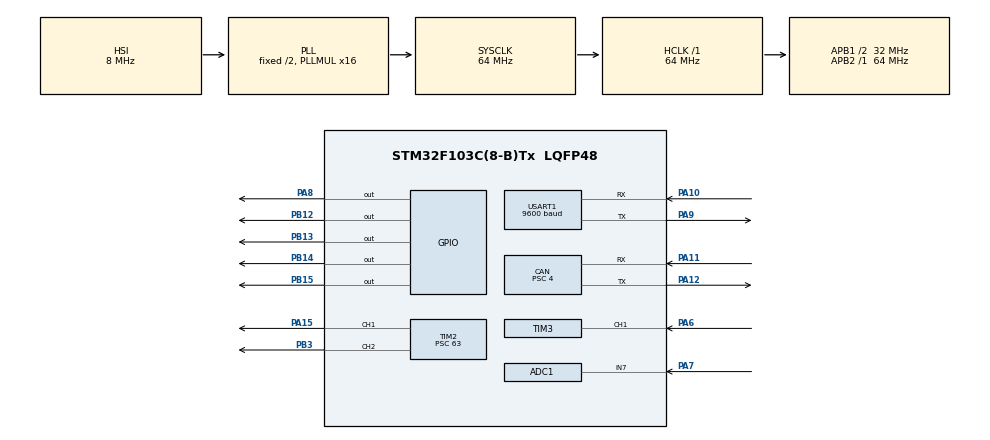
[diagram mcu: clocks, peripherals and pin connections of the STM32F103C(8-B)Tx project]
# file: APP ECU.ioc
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ADC1.Channel-3\#ChannelRegularConversion=ADC_CHANNEL_7
ADC1.ContinuousConvMode=DISABLE
ADC1.DataAlign=ADC_DATAALIGN_RIGHT
ADC1.NbrOfConversionFlag=1
ADC1.Rank-3\#ChannelRegularConversion=1
ADC1.SamplingTime-3\#ChannelRegularConversion=ADC_SAMPLETIME_1CYCLE_5
ADC1.master=1
CAN.BS1=CAN_BS1_13TQ
CAN.BS2=CAN_BS2_2TQ
CAN.CalculateBaudRate=500000
CAN.CalculateTimeBit=2000
CAN.CalculateTimeQuantum=125.0
CAN.Prescaler=4
Mcu.Family=STM32F1
Mcu.Name=STM32F103C(8-B)Tx
Mcu.Package=LQFP48
NVIC.ADC1_2_IRQn=true\:7\:0\:true\:false\:true\:true\:true\:true
NVIC.PriorityGroup=NVIC_PRIORITYGROUP_4
NVIC.TIM1_UP_IRQn=true\:15\:0\:false\:false\:true\:false\:true\:true
NVIC.TIM2_IRQn=true\:7\:0\:true\:false\:true\:true\:true\:true
NVIC.TIM3_IRQn=true\:7\:0\:true\:false\:true\:true\:true\:true
NVIC.TimeBase=TIM1_UP_IRQn
NVIC.TimeBaseIP=TIM1
NVIC.USART1_IRQn=true\:7\:0\:true\:false\:true\:true\:true\:true
NVIC.USB_HP_CAN1_TX_IRQn=true\:7\:0\:true\:false\:true\:true\:true\:true
NVIC.USB_LP_CAN1_RX0_IRQn=true\:7\:0\:true\:false\:true\:true\:true\:true
PA10.Mode=Asynchronous
PA10.Signal=USART1_RX
PA11.Mode=CAN_Activate
PA11.Signal=CAN_RX
PA12.Mode=CAN_Activate
PA12.Signal=CAN_TX
PA13.Mode=Serial_Wire
PA13.Signal=SYS_JTMS-SWDIO
PA14.Mode=Serial_Wire
PA14.Signal=SYS_JTCK-SWCLK
PA15.Signal=S_TIM2_CH1_ETR
PA6.Signal=S_TIM3_CH1
PA7.Signal=ADCx_IN7
PA8.Signal=GPIO_Output
PA9.Mode=Asynchronous
PA9.Signal=USART1_TX
PB12.Signal=GPIO_Output
PB13.Signal=GPIO_Output
PB14.Signal=GPIO_Output
PB15.Signal=GPIO_Output
PB3.Signal=S_TIM2_CH2
ProjectManager.HeapSize=0x200
ProjectManager.StackSize=0x400
ProjectManager.TargetToolchain=STM32CubeIDE
RCC.ADCPresc=RCC_ADCPCLK2_DIV8
RCC.AHBFreq_Value=64000000
RCC.APB1CLKDivider=RCC_HCLK_DIV2
RCC.APB1Freq_Value=32000000
RCC.APB1TimFreq_Value=64000000
RCC.APB2Freq_Value=64000000
RCC.APB2TimFreq_Value=64000000
RCC.HCLKFreq_Value=64000000
RCC.PLLMUL=RCC_PLL_MUL16
RCC.SYSCLKFreq_VALUE=64000000
RCC.SYSCLKSource=RCC_SYSCLKSOURCE_PLLCLK
RCC.USBFreq_Value=64000000
SH.ADCx_IN7.0=ADC1_IN7,IN7
SH.S_TIM2_CH1_ETR.0=TIM2_CH1,PWM Generation1 CH1
SH.S_TIM2_CH2.0=TIM2_CH2,PWM Generation2 CH2
SH.S_TIM3_CH1.0=TIM3_CH1,Input_Capture1_from_TI1
TIM2.Channel-PWM\ Generation1\ CH1=TIM_CHANNEL_1
TIM2.Channel-PWM\ Generation2\ CH2=TIM_CHANNEL_2
TIM2.Period=999
TIM2.Prescaler=63
TIM3.Channel-Input_Capture1_from_TI1=TIM_CHANNEL_1
USART1.BaudRate=9600
USART1.VirtualMode=VM_ASYNC
VP_SYS_VS_tim1.Mode=TIM1
board=custom

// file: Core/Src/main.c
/* USER CODE BEGIN Header */
/**
  ******************************************************************************
  * @file           : main.c
  * @brief          : Main program body
  ******************************************************************************
  * @attention
  *
  * Copyright (c) 2025 STMicroelectronics.
  * All rights reserved.
  *
  * This software is licensed under terms that can be found in the LICENSE file
  * in the root directory of this software component.
  * If no LICENSE file comes with this software, it is provided AS-IS.
  *
  ******************************************************************************
  */
/* USER CODE END Header */
#include "main.h"

/* USER CODE BEGIN Includes */
#include "TaskHandle.h"
/* USER CODE END Includes */

ADC_HandleTypeDef hadc1;

CAN_HandleTypeDef hcan;

TIM_HandleTypeDef htim2;
TIM_HandleTypeDef htim3;

UART_HandleTypeDef huart1;

void SystemClock_Config(void);
static void MX_GPIO_Init(void);
static void MX_ADC1_Init(void);
static void MX_CAN_Init(void);
static void MX_TIM2_Init(void);
static void MX_TIM3_Init(void);
static void MX_USART1_UART_Init(void);
/* USER CODE BEGIN PFP */

void CAN_FilterConfig_AppECU(void);

/* USER CODE END PFP */

int main(void)
{

  /* MCU Configuration--------------------------------------------------------*/

  /* Reset of all peripherals, Initializes the Flash interface and the Systick. */
  HAL_Init();

  /* Configure the system clock */
  SystemClock_Config();

  /* Initialize all configured peripherals */
  MX_GPIO_Init();
  MX_ADC1_Init();
  MX_CAN_Init();
  MX_TIM2_Init();
  MX_TIM3_Init();
  MX_USART1_UART_Init();
  /* USER CODE BEGIN 2 */

  /** Configure and start CAN **/
  CAN_FilterConfig_AppECU();
  HAL_CAN_Start(&hcan);
  HAL_CAN_ActivateNotification(&hcan, CAN_IT_RX_FIFO0_MSG_PENDING);

  /** Initialize FreeRTOS tasks **/
  FreeRTOS_Init();

  /** Start scheduler **/
  Start_Scheduler();

  /* USER CODE END 2 */

  /* Infinite loop */
  while (1)
  {

  }
}

void SystemClock_Config(void)
{
  RCC_OscInitTypeDef RCC_OscInitStruct = {0};
  RCC_ClkInitTypeDef RCC_ClkInitStruct = {0};
  RCC_PeriphCLKInitTypeDef PeriphClkInit = {0};

  /** Initializes the RCC Oscillators according to the specified parameters
  * in the RCC_OscInitTypeDef structure.
  */
  RCC_OscInitStruct.OscillatorType = RCC_OSCILLATORTYPE_HSI;
  RCC_OscInitStruct.HSIState = RCC_HSI_ON;
  RCC_OscInitStruct.HSICalibrationValue = RCC_HSICALIBRATION_DEFAULT;
  RCC_OscInitStruct.PLL.PLLState = RCC_PLL_ON;
  RCC_OscInitStruct.PLL.PLLSource = RCC_PLLSOURCE_HSI_DIV2;
  RCC_OscInitStruct.PLL.PLLMUL = RCC_PLL_MUL16;
  if (HAL_RCC_OscConfig(&RCC_OscInitStruct) != HAL_OK)
  {
    Error_Handler();
  }

  /** Initializes the CPU, AHB and APB buses clocks
  */
  RCC_ClkInitStruct.ClockType = RCC_CLOCKTYPE_HCLK|RCC_CLOCKTYPE_SYSCLK
                              |RCC_CLOCKTYPE_PCLK1|RCC_CLOCKTYPE_PCLK2;
  RCC_ClkInitStruct.SYSCLKSource = RCC_SYSCLKSOURCE_PLLCLK;
  RCC_ClkInitStruct.AHBCLKDivider = RCC_SYSCLK_DIV1;
  RCC_ClkInitStruct.APB1CLKDivider = RCC_HCLK_DIV2;
  RCC_ClkInitStruct.APB2CLKDivider = RCC_HCLK_DIV1;

  if (HAL_RCC_ClockConfig(&RCC_ClkInitStruct, FLASH_LATENCY_2) != HAL_OK)
  {
    Error_Handler();
  }
  PeriphClkInit.PeriphClockSelection = RCC_PERIPHCLK_ADC;
  PeriphClkInit.AdcClockSelection = RCC_ADCPCLK2_DIV8;
  if (HAL_RCCEx_PeriphCLKConfig(&PeriphClkInit) != HAL_OK)
  {
    Error_Handler();
  }
}

static void MX_ADC1_Init(void)
{

  ADC_ChannelConfTypeDef sConfig = {0};

  /** Common config
  */
  hadc1.Instance = ADC1;
  hadc1.Init.ScanConvMode = ADC_SCAN_DISABLE;
  hadc1.Init.ContinuousConvMode = DISABLE;
  hadc1.Init.DiscontinuousConvMode = DISABLE;
  hadc1.Init.ExternalTrigConv = ADC_SOFTWARE_START;
  hadc1.Init.DataAlign = ADC_DATAALIGN_RIGHT;
  hadc1.Init.NbrOfConversion = 1;
  if (HAL_ADC_Init(&hadc1) != HAL_OK)
  {
    Error_Handler();
  }

  /** Configure Regular Channel
  */
  sConfig.Channel = ADC_CHANNEL_7;
  sConfig.Rank = ADC_REGULAR_RANK_1;
  sConfig.SamplingTime = ADC_SAMPLETIME_1CYCLE_5;
  if (HAL_ADC_ConfigChannel(&hadc1, &sConfig) != HAL_OK)
  {
    Error_Handler();
  }

}

static void MX_CAN_Init(void)
{

  hcan.Instance = CAN1;
  hcan.Init.Prescaler = 4;
  hcan.Init.Mode = CAN_MODE_NORMAL;
  hcan.Init.SyncJumpWidth = CAN_SJW_1TQ;
  hcan.Init.TimeSeg1 = CAN_BS1_13TQ;
  hcan.Init.TimeSeg2 = CAN_BS2_2TQ;
  hcan.Init.TimeTriggeredMode = DISABLE;
  hcan.Init.AutoBusOff = DISABLE;
  hcan.Init.AutoWakeUp = DISABLE;
  hcan.Init.AutoRetransmission = DISABLE;
  hcan.Init.ReceiveFifoLocked = DISABLE;
  hcan.Init.TransmitFifoPriority = DISABLE;
  if (HAL_CAN_Init(&hcan) != HAL_OK)
  {
    Error_Handler();
  }

}

static void MX_TIM2_Init(void)
{

  TIM_MasterConfigTypeDef sMasterConfig = {0};
  TIM_OC_InitTypeDef sConfigOC = {0};

  htim2.Instance = TIM2;
  htim2.Init.Prescaler = 63;
  htim2.Init.CounterMode = TIM_COUNTERMODE_UP;
  htim2.Init.Period = 999;
  htim2.Init.ClockDivision = TIM_CLOCKDIVISION_DIV1;
  htim2.Init.AutoReloadPreload = TIM_AUTORELOAD_PRELOAD_DISABLE;
  if (HAL_TIM_PWM_Init(&htim2) != HAL_OK)
  {
    Error_Handler();
  }
  sMasterConfig.MasterOutputTrigger = TIM_TRGO_RESET;
  sMasterConfig.MasterSlaveMode = TIM_MASTERSLAVEMODE_DISABLE;
  if (HAL_TIMEx_MasterConfigSynchronization(&htim2, &sMasterConfig) != HAL_OK)
  {
    Error_Handler();
  }
  sConfigOC.OCMode = TIM_OCMODE_PWM1;
  sConfigOC.Pulse = 0;
  sConfigOC.OCPolarity = TIM_OCPOLARITY_HIGH;
  sConfigOC.OCFastMode = TIM_OCFAST_DISABLE;
  if (HAL_TIM_PWM_ConfigChannel(&htim2, &sConfigOC, TIM_CHANNEL_1) != HAL_OK)
  {
    Error_Handler();
  }
  if (HAL_TIM_PWM_ConfigChannel(&htim2, &sConfigOC, TIM_CHANNEL_2) != HAL_OK)
  {
    Error_Handler();
  }
  HAL_TIM_MspPostInit(&htim2);

}

static void MX_TIM3_Init(void)
{

  TIM_MasterConfigTypeDef sMasterConfig = {0};
  TIM_IC_InitTypeDef sConfigIC = {0};

  htim3.Instance = TIM3;
  htim3.Init.Prescaler = 0;
  htim3.Init.CounterMode = TIM_COUNTERMODE_UP;
  htim3.Init.Period = 65535;
  htim3.Init.ClockDivision = TIM_CLOCKDIVISION_DIV1;
  htim3.Init.AutoReloadPreload = TIM_AUTORELOAD_PRELOAD_DISABLE;
  if (HAL_TIM_IC_Init(&htim3) != HAL_OK)
  {
    Error_Handler();
  }
  sMasterConfig.MasterOutputTrigger = TIM_TRGO_RESET;
  sMasterConfig.MasterSlaveMode = TIM_MASTERSLAVEMODE_DISABLE;
  if (HAL_TIMEx_MasterConfigSynchronization(&htim3, &sMasterConfig) != HAL_OK)
  {
    Error_Handler();
  }
  sConfigIC.ICPolarity = TIM_INPUTCHANNELPOLARITY_RISING;
  sConfigIC.ICSelection = TIM_ICSELECTION_DIRECTTI;
  sConfigIC.ICPrescaler = TIM_ICPSC_DIV1;
  sConfigIC.ICFilter = 0;
  if (HAL_TIM_IC_ConfigChannel(&htim3, &sConfigIC, TIM_CHANNEL_1) != HAL_OK)
  {
    Error_Handler();
  }

}

static void MX_USART1_UART_Init(void)
{

  huart1.Instance = USART1;
  huart1.Init.BaudRate = 9600;
  huart1.Init.WordLength = UART_WORDLENGTH_8B;
  huart1.Init.StopBits = UART_STOPBITS_1;
  huart1.Init.Parity = UART_PARITY_NONE;
  huart1.Init.Mode = UART_MODE_TX_RX;
  huart1.Init.HwFlowCtl = UART_HWCONTROL_NONE;
  huart1.Init.OverSampling = UART_OVERSAMPLING_16;
  if (HAL_UART_Init(&huart1) != HAL_OK)
  {
    Error_Handler();
  }

}

static void MX_GPIO_Init(void)
{
  GPIO_InitTypeDef GPIO_InitStruct = {0};

  /* GPIO Ports Clock Enable */
  __HAL_RCC_GPIOA_CLK_ENABLE();
  __HAL_RCC_GPIOB_CLK_ENABLE();

  /*Configure GPIO pin Output Level */
  HAL_GPIO_WritePin(GPIOB, GPIO_PIN_12|GPIO_PIN_13|GPIO_PIN_14|GPIO_PIN_15, GPIO_PIN_RESET);

  /*Configure GPIO pin Output Level */
  HAL_GPIO_WritePin(GPIOA, GPIO_PIN_8, GPIO_PIN_RESET);

  /*Configure GPIO pins : PB12 PB13 PB14 PB15 */
  GPIO_InitStruct.Pin = GPIO_PIN_12|GPIO_PIN_13|GPIO_PIN_14|GPIO_PIN_15;
  GPIO_InitStruct.Mode = GPIO_MODE_OUTPUT_PP;
  GPIO_InitStruct.Pull = GPIO_NOPULL;
  GPIO_InitStruct.Speed = GPIO_SPEED_FREQ_LOW;
  HAL_GPIO_Init(GPIOB, &GPIO_InitStruct);

  /*Configure GPIO pin : PA8 */
  GPIO_InitStruct.Pin = GPIO_PIN_8;
  GPIO_InitStruct.Mode = GPIO_MODE_OUTPUT_PP;
  GPIO_InitStruct.Pull = GPIO_NOPULL;
  GPIO_InitStruct.Speed = GPIO_SPEED_FREQ_LOW;
  HAL_GPIO_Init(GPIOA, &GPIO_InitStruct);

}

/* USER CODE BEGIN 4 */

/**
 * @brief  Configures CAN filter to accept motor commands only
 */
void CAN_FilterConfig_AppECU(void)
{
    CAN_FilterTypeDef filter = {0};

    filter.FilterBank = 0;
    filter.FilterMode = CAN_FILTERMODE_IDMASK;
    filter.FilterScale = CAN_FILTERSCALE_32BIT;
    filter.FilterIdHigh = (0x400U << 5) & 0xFFFF;
    filter.FilterIdLow  = 0x0000;
    filter.FilterMaskIdHigh = 0xFFFF;  /** match all ID bits **/
    filter.FilterMaskIdLow  = 0x0000;
    filter.FilterFIFOAssignment = CAN_FILTER_FIFO0;
    filter.FilterActivation = ENABLE;
    filter.SlaveStartFilterBank = 14;   /** default for single CAN */

    HAL_CAN_ConfigFilter(&hcan, &filter);
}

/* USER CODE END 4 */

void HAL_TIM_PeriodElapsedCallback(TIM_HandleTypeDef *htim)
{
  if (htim->Instance == TIM1) {
    HAL_IncTick();
  }
}

void Error_Handler(void)
{
  __disable_irq();
  while (1)
  {
  }
}
